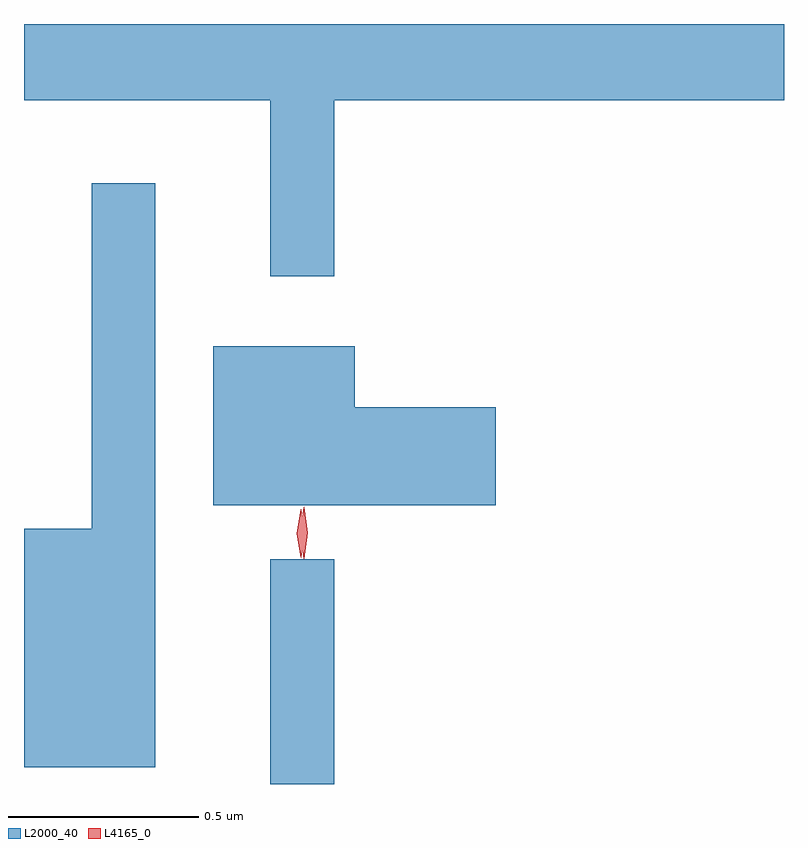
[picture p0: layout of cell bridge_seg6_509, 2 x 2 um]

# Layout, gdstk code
import gdstk
lib = gdstk.Library(unit=1e-6, precision=1e-09)
def R(c, l, rs):  # rectangles x0, y0, x1, y1
    for r in rs: c.add(gdstk.rectangle(r[:2], r[2:], *l))
def P(c, l, *ps):  # polygons
    for p in ps: c.add(gdstk.Polygon(p, *l))
L2000_40 = (2000, 40)
L4165_0 = (4165, 0)

bridge_seg6_509 = lib.new_cell('bridge_seg6_509')
R(bridge_seg6_509, L2000_40, [(678.881,1581.537,679.049,1582.128)])
P(bridge_seg6_509, L2000_40, [(679.049,1583.336),(680.233,1583.336),(680.233,1583.537),(678.233,1583.537),(678.233,1583.336),(678.881,1583.336),(678.881,1582.873),(679.049,1582.873)],
  [(678.579,1583.118),(678.411,1583.118),(678.411,1582.209),(678.233,1582.209),(678.233,1581.581),(678.579,1581.581)],
  [(679.474,1582.529),(679.104,1582.529),(679.104,1582.689),(678.731,1582.689),(678.731,1582.271),(679.474,1582.271)])
P(bridge_seg6_509, L4165_0, [(678.962,1582.133),(678.961,1582.134),(678.951,1582.196),(678.961,1582.26),(678.961,1582.26),(678.962,1582.26),(678.971,1582.196),(678.962,1582.134)],
  [(678.969,1582.13),(678.96,1582.198),(678.969,1582.265),(678.97,1582.266),(678.97,1582.265),(678.98,1582.198),(678.97,1582.13),(678.97,1582.13)])

lib.write_gds('bridge_seg6_509.gds')
